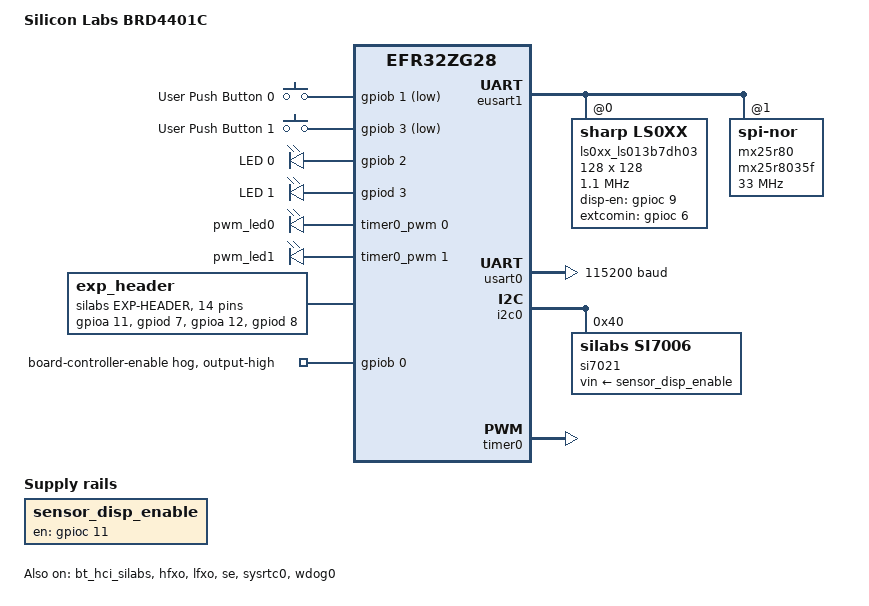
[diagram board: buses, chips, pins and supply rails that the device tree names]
/*
 * Copyright (c) 2025 Shontal Biton
 *
 * SPDX-License-Identifier: Apache-2.0
 */

/dts-v1/;
#include <silabs/xg28/efr32zg28b322f1024im68.dtsi>
#include <zephyr/dt-bindings/input/input-event-codes.h>
#include <zephyr/dt-bindings/pwm/pwm.h>
#include <zephyr/dt-bindings/regulator/silabs_dcdc.h>
#include "xg28_rb4401c-pinctrl.dtsi"

/ {
	model = "Silicon Labs BRD4401C";
	compatible = "silabs,xg28_rb4401c", "silabs,efr32zg28";

	chosen {
		zephyr,bt-hci = &bt_hci_silabs;
		zephyr,code-partition = &slot0_partition;
		zephyr,console = &usart0;
		zephyr,display = &ls0xx_ls013b7dh03;
		zephyr,flash = &flash0;
		zephyr,shell-uart = &usart0;
		zephyr,sram = &sram0;
		zephyr,uart-pipe = &usart0;
	};

	aliases {
		dht0 = &si7021;
		led0 = &led0;
		led1 = &led1;
		pwm-led0 = &pwm_led0;
		pwm-led1 = &pwm_led1;
		sw0 = &button0;
		sw1 = &button1;
		watchdog0 = &wdog0;
	};

	buttons {
		compatible = "gpio-keys";

		button0: button_0 {
			gpios = <&gpiob 1 GPIO_ACTIVE_LOW>;
			label = "User Push Button 0";
			zephyr,code = <INPUT_KEY_0>;
		};

		button1: button_1 {
			gpios = <&gpiob 3 GPIO_ACTIVE_LOW>;
			label = "User Push Button 1";
			zephyr,code = <INPUT_KEY_1>;
		};
	};

	leds {
		compatible = "gpio-leds";

		led0: led_0 {
			gpios = <&gpiob 2 GPIO_ACTIVE_HIGH>;
			label = "LED 0";
		};

		led1: led_1 {
			gpios = <&gpiod 3 GPIO_ACTIVE_HIGH>;
			label = "LED 1";
		};
	};

	pwmleds {
		compatible = "pwm-leds";

		pwm_led0: pwm_led_0 {
			pwms = <&timer0_pwm 0 PWM_MSEC(20) PWM_POLARITY_NORMAL>;
		};

		pwm_led1: pwm_led_1 {
			pwms = <&timer0_pwm 1 PWM_MSEC(20) PWM_POLARITY_NORMAL>;
		};
	};

	sensor_disp_enable: sensor_disp_enable {
		compatible = "regulator-fixed";
		enable-gpios = <&gpioc 11 GPIO_ACTIVE_HIGH>;
		regulator-name = "sensor_disp_enable";
		status = "okay";
	};

	exp_header: exp-header {
		compatible = "silabs,exp-header";
		#gpio-cells = <2>;
		gpio-map = <3 0 &gpioa 11 0>,
			   <4 0 &gpiod 7 0>,
			   <5 0 &gpioa 12 0>,
			   <6 0 &gpiod 8 0>,
			   <7 0 &gpioa 13 0>,
			   <8 0 &gpiod 9 0>,
			   <9 0 &gpioa 14 0>,
			   <10 0 &gpiod 10 0>,
			   <11 0 &gpiob 4 0>,
			   <12 0 &gpiod 11 0>,
			   <13 0 &gpiob 5 0>,
			   <14 0 &gpiod 12 0>,
			   <15 0 &gpioc 5 0>,
			   <16 0 &gpioc 7 0>;
		gpio-map-mask = <0xffffffff 0x0>;
		gpio-map-pass-thru = <0x0 GPIO_DT_FLAGS_MASK>;
	};
};

&bt_hci_silabs {
	status = "okay";
};

&cpu0 {
	clock-frequency = <78000000>;
};

&dcdc {
	regulator-boot-on;
	regulator-initial-mode = <SILABS_DCDC_MODE_BUCK>;
	silabs,pfmx-peak-current-milliamp = <100>;
	status = "okay";
};

&em23grpaclk {
	clocks = <&lfxo>;
};

&em4grpaclk {
	clocks = <&lfxo>;
};

&eusart1 {
	#address-cells = <1>;
	#size-cells = <0>;
	pinctrl-0 = <&eusart1_default>;
	pinctrl-names = "default";
	cs-gpios = <&gpioc 8 GPIO_ACTIVE_HIGH>, <&gpioc 4 GPIO_ACTIVE_LOW>;
	status = "okay";

	ls0xx_ls013b7dh03: ls0xx@0 {
		compatible = "sharp,ls0xx";
		reg = <0>;
		disp-en-gpios = <&gpioc 9 GPIO_ACTIVE_HIGH>;
		extcomin-gpios = <&gpioc 6 GPIO_ACTIVE_HIGH>;
		extcomin-frequency = <60>;
		height = <128>;
		width = <128>;
		spi-max-frequency = <DT_FREQ_K(1100)>;
	};

	mx25r80: mx25r8035f@1 {
		compatible = "jedec,spi-nor";
		reg = <1>;
		dpd-wakeup-sequence = <30000 20 35000>;
		has-dpd;
		jedec-id = [c2 28 14];
		mxicy,mx25r-power-mode = "low-power";
		size = <DT_SIZE_M(8)>;
		spi-max-frequency = <DT_FREQ_M(33)>;
		t-enter-dpd = <0>;
	};
};

&usart0 {
	current-speed = <115200>;
	pinctrl-0 = <&usart0_default>;
	pinctrl-names = "default";
	status = "okay";
};

&i2c0 {
	pinctrl-0 = <&i2c0_default>;
	pinctrl-names = "default";
	status = "okay";

	si7021: si7021@40 {
		compatible = "silabs,si7006";
		reg = <0x40>;
		vin-supply = <&sensor_disp_enable>;
	};
};

&gpio {
	status = "okay";
};

&gpioa {
	status = "okay";
};

&gpiob {
	status = "okay";

	board-controller-enable {
		gpio-hog;
		gpios = <0 GPIO_ACTIVE_HIGH>;
		output-high;
	};
};

&gpioc {
	status = "okay";
};

&gpiod {
	status = "okay";
};

&hfrcodpll {
	clock-frequency = <DT_FREQ_M(78)>;
	clocks = <&hfxo>;
	dpll-n = <3839>;
	dpll-m = <1919>;
	dpll-edge = "fall";
	dpll-lock = "phase";
	dpll-autorecover;
};

&hfxo {
	ctune = <115>;
	precision = <50>;
	status = "okay";
};

&lfxo {
	ctune = <44>;
	precision = <50>;
	status = "okay";
};

&se {
	status = "okay";
};

&sysrtc0 {
	status = "okay";
};

&sysrtcclk {
	clocks = <&lfxo>;
};

&timer0 {
	status = "okay";

	timer0_pwm: pwm {
		pinctrl-0 = <&timer0_default>;
		pinctrl-names = "default";
		status = "okay";
	};
};

&wdog0 {
	status = "okay";
};

&wdog0clk {
	clocks = <&lfxo>;
};

&wdog1clk {
	clocks = <&lfxo>;
};

&flash0 {
	partitions {
		compatible = "fixed-partitions";
		#address-cells = <1>;
		#size-cells = <1>;

		/* Reserve 48 kB for the bootloader */
		boot_partition: partition@0 {
			reg = <0x0 DT_SIZE_K(48)>;
			label = "mcuboot";
			read-only;
		};

		/* Reserve 472 kB for the application in slot 0 */
		slot0_partition: partition@c000 {
			reg = <0x0000c000 DT_SIZE_K(472)>;
			label = "image-0";
		};

		/* Reserve 472 kB for the application in slot 1 */
		slot1_partition: partition@82000 {
			reg = <0x00082000 DT_SIZE_K(472)>;
			label = "image-1";
		};

		/* Set 32 kB of storage at the end of the 1024 kB of flash */
		storage_partition: partition@f8000 {
			reg = <0x000f8000 DT_SIZE_K(32)>;
			label = "storage";
		};
	};
};
